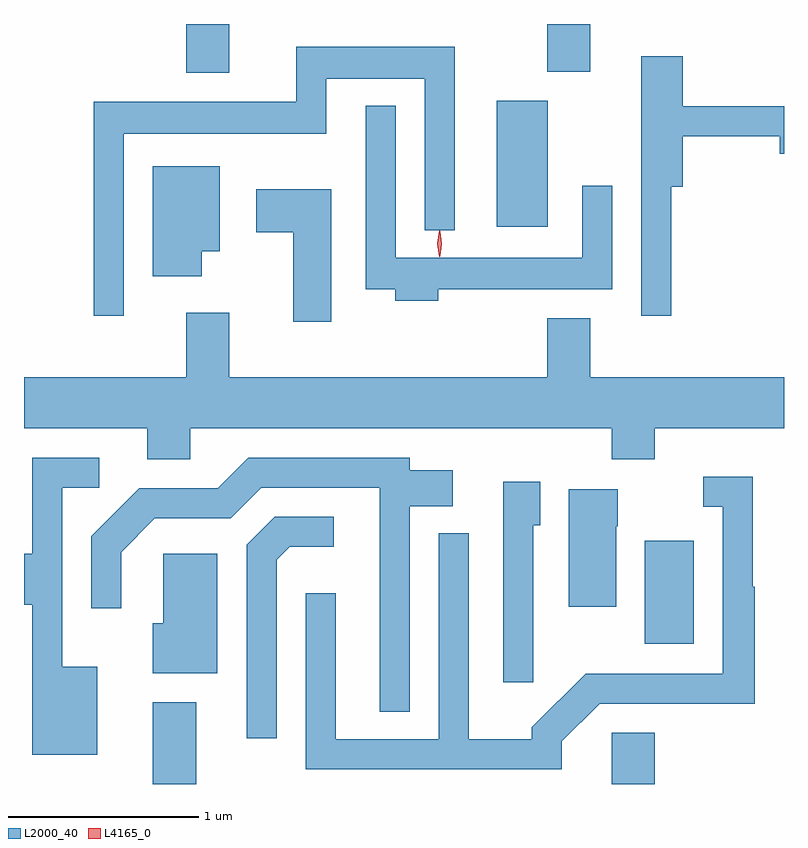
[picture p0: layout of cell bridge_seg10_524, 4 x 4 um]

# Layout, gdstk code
import gdstk
lib = gdstk.Library(unit=1e-6, precision=1e-09)
def R(c, l, rs):  # rectangles x0, y0, x1, y1
    for r in rs: c.add(gdstk.rectangle(r[:2], r[2:], *l))
def P(c, l, *ps):  # polygons
    for p in ps: c.add(gdstk.Polygon(p, *l))
L2000_40 = (2000, 40)
L4165_0 = (4165, 0)

bridge_seg10_524 = lib.new_cell('bridge_seg10_524')
R(bridge_seg10_524, L2000_40, [(781.766,2180.863,781.994,2181.294), (784.181,2180.863,784.409,2181.134), (784.356,2181.601,784.614,2182.144), (783.576,2183.796,783.844,2184.459), (781.941,2184.606,782.169,2184.863), (783.841,2184.611,784.069,2184.863)])
P(bridge_seg10_524, L2000_40, [(781.614,2184.286),(782.679,2184.286),(782.679,2184.576),(783.196,2184.576),(783.196,2183.778),(783.354,2183.778),(783.354,2184.744),(782.521,2184.744),(782.521,2184.454),(781.456,2184.454),(781.456,2183.328),(781.614,2183.328)],
  [(784.494,2184.006),(784.554,2184.006),(784.554,2184.271),(785.066,2184.271),(785.066,2184.181),(785.088,2184.181),(785.088,2184.429),(784.554,2184.429),(784.554,2184.694),(784.336,2184.694),(784.336,2183.328),(784.494,2183.328)],
  [(783.269,2183.466),(784.184,2183.466),(784.184,2184.013),(784.026,2184.013),(784.026,2183.634),(783.044,2183.634),(783.044,2184.433),(782.886,2184.433),(782.886,2183.466),(783.041,2183.466),(783.041,2183.406),(783.269,2183.406)],
  [(782.024,2183.666),(782.119,2183.666),(782.119,2184.114),(781.766,2184.114),(781.766,2183.536),(782.024,2183.536)],
  [(782.704,2183.994),(782.311,2183.994),(782.311,2183.766),(782.506,2183.766),(782.506,2183.296),(782.704,2183.296)],
  [(781.964,2182.736),(784.181,2182.736),(784.181,2182.571),(784.409,2182.571),(784.409,2182.736),(785.088,2182.736),(785.088,2183.004),(784.069,2183.004),(784.069,2183.314),(783.841,2183.314),(783.841,2183.004),(782.169,2183.004),(782.169,2183.344),(781.941,2183.344),(781.941,2183.004),(781.088,2183.004),(781.088,2182.736),(781.736,2182.736),(781.736,2182.571),(781.964,2182.571)],
  [(781.474,2181.479),(781.289,2181.479),(781.289,2182.421),(781.483,2182.421),(781.483,2182.579),(781.131,2182.579),(781.131,2182.074),(781.088,2182.074),(781.088,2181.806),(781.131,2181.806),(781.131,2181.016),(781.474,2181.016)],
  [(783.119,2182.326),(783.344,2182.326),(783.344,2182.514),(783.119,2182.514),(783.119,2182.579),(782.269,2182.579),(782.109,2182.419),(781.694,2182.419),(781.441,2182.167),(781.441,2181.788),(781.599,2181.788),(781.599,2182.084),(781.777,2182.261),(782.177,2182.261),(782.337,2182.421),(782.961,2182.421),(782.961,2181.243),(783.119,2181.243)],
  [(783.919,2181.089),(784.117,2181.286),(784.934,2181.286),(784.934,2181.9),(784.924,2181.9),(784.924,2182.479),(784.663,2182.479),(784.663,2182.321),(784.766,2182.321),(784.766,2181.444),(784.044,2181.444),(783.761,2181.162),(783.761,2181.099),(783.429,2181.099),(783.429,2182.183),(783.271,2182.183),(783.271,2181.099),(782.729,2181.099),(782.729,2181.868),(782.571,2181.868),(782.571,2180.941),(783.919,2180.941)],
  [(783.769,2182.226),(783.804,2182.226),(783.804,2182.454),(783.611,2182.454),(783.611,2181.398),(783.769,2181.398)],
  [(784.204,2182.22),(784.214,2182.22),(784.214,2182.414),(783.956,2182.414),(783.956,2181.796),(784.204,2181.796)],
  [(782.419,2182.044),(782.487,2182.111),(782.718,2182.111),(782.718,2182.269),(782.409,2182.269),(782.261,2182.122),(782.261,2181.103),(782.419,2181.103)],
  [(782.104,2182.074),(781.821,2182.074),(781.821,2181.709),(781.766,2181.709),(781.766,2181.446),(782.104,2181.446)])
P(bridge_seg10_524, L4165_0, [(783.274,2183.637),(783.274,2183.637),(783.264,2183.707),(783.274,2183.776),(783.274,2183.776),(783.275,2183.776),(783.284,2183.707),(783.275,2183.637)],
  [(783.277,2183.64),(783.268,2183.706),(783.277,2183.772),(783.278,2183.773),(783.278,2183.772),(783.287,2183.706),(783.278,2183.64),(783.278,2183.64)])

lib.write_gds('bridge_seg10_524.gds')
